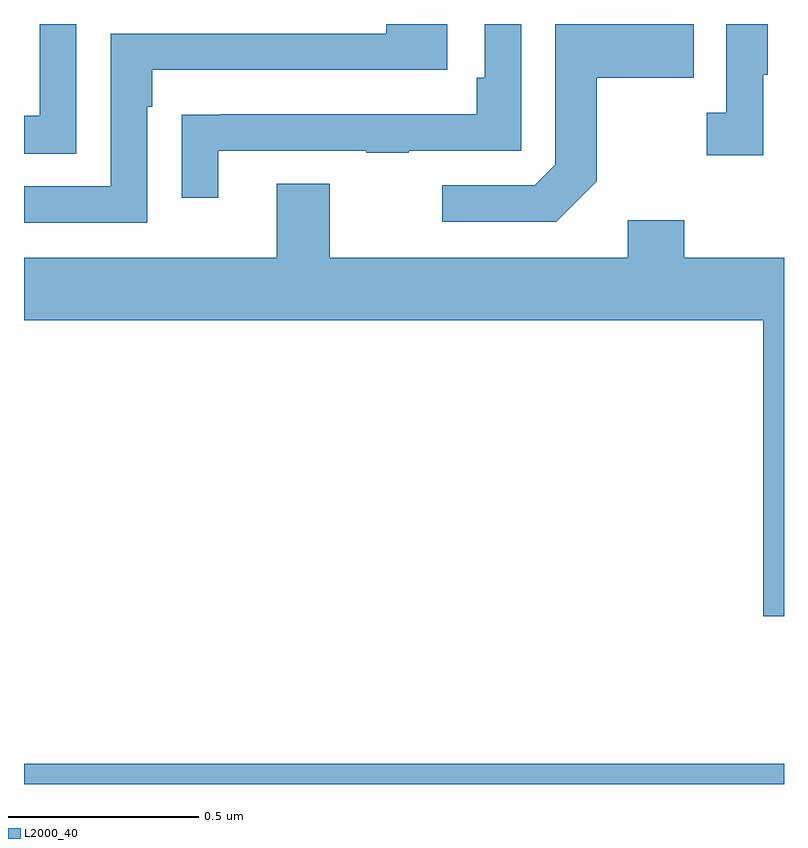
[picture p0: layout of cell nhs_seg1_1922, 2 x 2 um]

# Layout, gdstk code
import gdstk
lib = gdstk.Library(unit=1e-6, precision=1e-09)
def R(c, l, rs):  # rectangles x0, y0, x1, y1
    for r in rs: c.add(gdstk.rectangle(r[:2], r[2:], *l))
def P(c, l, *ps):  # polygons
    for p in ps: c.add(gdstk.Polygon(p, *l))
L2000_40 = (2000, 40)

nhs_seg1_1922 = lib.new_cell('nhs_seg1_1922')
R(nhs_seg1_1922, L2000_40, [(135,529.199,137,529.252)])
P(nhs_seg1_1922, L2000_40, [(135.511,530.865),(135.901,530.865),(135.901,530.86),(136.013,530.86),(136.013,530.865),(136.308,530.865),(136.308,531.199),(136.212,531.199),(136.212,531.058),(136.192,531.058),(136.192,530.961),(135.517,530.961),(135.517,530.96),(135.415,530.96),(135.415,530.742),(135.511,530.742)],
  [(136.507,530.785),(136.507,531.058),(136.763,531.058),(136.763,531.199),(136.398,531.199),(136.398,530.829),(136.344,530.775),(136.101,530.775),(136.101,530.679),(136.401,530.679)],
  [(135.324,530.981),(135.337,530.981),(135.337,531.078),(136.114,531.078),(136.114,531.199),(135.953,531.199),(135.953,531.174),(135.228,531.174),(135.228,530.772),(135,530.772),(135,530.676),(135.324,530.676)],
  [(135.138,531.199),(135.042,531.199),(135.042,530.958),(135,530.958),(135,530.857),(135.138,530.857)],
  [(136.945,531.065),(136.957,531.065),(136.957,531.199),(136.848,531.199),(136.848,530.966),(136.797,530.966),(136.797,530.853),(136.945,530.853)],
  [(137,530.584),(136.737,530.584),(136.737,530.683),(136.589,530.683),(136.589,530.584),(135.805,530.584),(135.805,530.779),(135.665,530.779),(135.665,530.584),(135,530.584),(135,530.42),(136.946,530.42),(136.946,529.641),(137,529.641)])

lib.write_gds('nhs_seg1_1922.gds')
